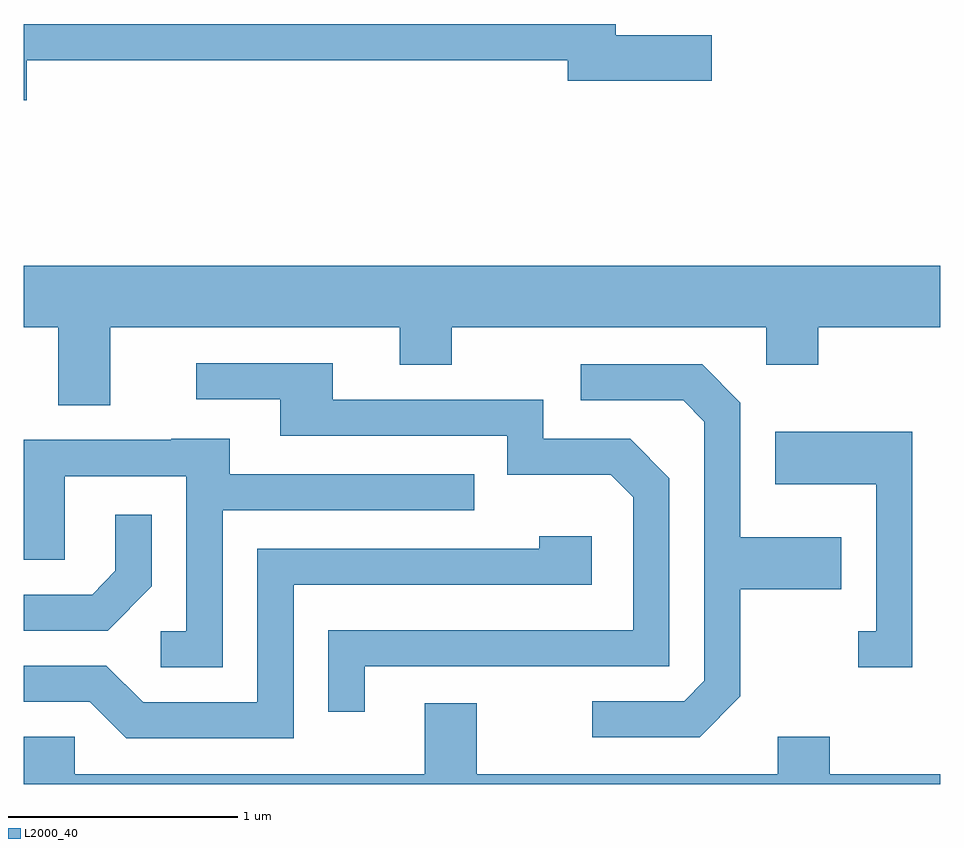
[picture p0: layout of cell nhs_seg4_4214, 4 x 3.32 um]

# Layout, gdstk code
import gdstk
lib = gdstk.Library(unit=1e-6, precision=1e-09)
def P(c, l, *ps):  # polygons
    for p in ps: c.add(gdstk.Polygon(p, *l))
L2000_40 = (2000, 40)

nhs_seg4_4214 = lib.new_cell('nhs_seg4_4214')
P(nhs_seg4_4214, L2000_40, [(307.624,1389.141),(309.986,1389.141),(309.986,1389.051),(310.614,1389.051),(310.614,1389.249),(310.194,1389.249),(310.194,1389.299),(307.611,1389.299),(307.611,1388.966),(307.624,1388.966)],
  [(307.989,1387.976),(309.251,1387.976),(309.251,1387.811),(309.479,1387.811),(309.479,1387.976),(310.851,1387.976),(310.851,1387.811),(311.079,1387.811),(311.079,1387.976),(311.611,1387.976),(311.611,1388.244),(307.611,1388.244),(307.611,1387.976),(307.761,1387.976),(307.761,1387.636),(307.989,1387.636)],
  [(309.099,1386.496),(310.429,1386.496),(310.429,1387.317),(310.257,1387.489),(309.879,1387.489),(309.879,1387.659),(308.959,1387.659),(308.959,1387.819),(308.363,1387.819),(308.363,1387.661),(308.731,1387.661),(308.731,1387.501),(309.721,1387.501),(309.721,1387.331),(310.174,1387.331),(310.271,1387.234),(310.271,1386.654),(308.941,1386.654),(308.941,1386.298),(309.099,1386.298)],
  [(310.739,1386.364),(310.739,1386.831),(311.179,1386.831),(311.179,1387.059),(310.739,1387.059),(310.739,1387.647),(310.572,1387.814),(310.043,1387.814),(310.043,1387.656),(310.489,1387.656),(310.581,1387.564),(310.581,1386.432),(310.494,1386.344),(310.093,1386.344),(310.093,1386.186),(310.562,1386.186)],
  [(311.489,1387.519),(310.891,1387.519),(310.891,1387.291),(311.331,1387.291),(311.331,1386.649),(311.253,1386.649),(311.253,1386.491),(311.489,1386.491)],
  [(308.479,1387.176),(309.578,1387.176),(309.578,1387.334),(308.509,1387.334),(308.509,1387.489),(308.255,1387.489),(308.255,1387.484),(307.611,1387.484),(307.611,1386.961),(307.789,1386.961),(307.789,1387.326),(308.321,1387.326),(308.321,1386.649),(308.208,1386.649),(308.208,1386.491),(308.479,1386.491)],
  [(308.169,1386.844),(308.169,1387.158),(308.011,1387.158),(308.011,1386.912),(307.909,1386.809),(307.611,1386.809),(307.611,1386.651),(307.977,1386.651)],
  [(308.789,1386.851),(310.089,1386.851),(310.089,1387.064),(309.861,1387.064),(309.861,1387.009),(308.631,1387.009),(308.631,1386.339),(308.132,1386.339),(307.972,1386.499),(307.611,1386.499),(307.611,1386.341),(307.899,1386.341),(308.059,1386.181),(308.789,1386.181)],
  [(311.611,1386.024),(311.129,1386.024),(311.129,1386.189),(310.901,1386.189),(310.901,1386.024),(309.589,1386.024),(309.589,1386.334),(309.361,1386.334),(309.361,1386.024),(307.834,1386.024),(307.834,1386.189),(307.611,1386.189),(307.611,1385.982),(311.611,1385.982)])

lib.write_gds('nhs_seg4_4214.gds')
